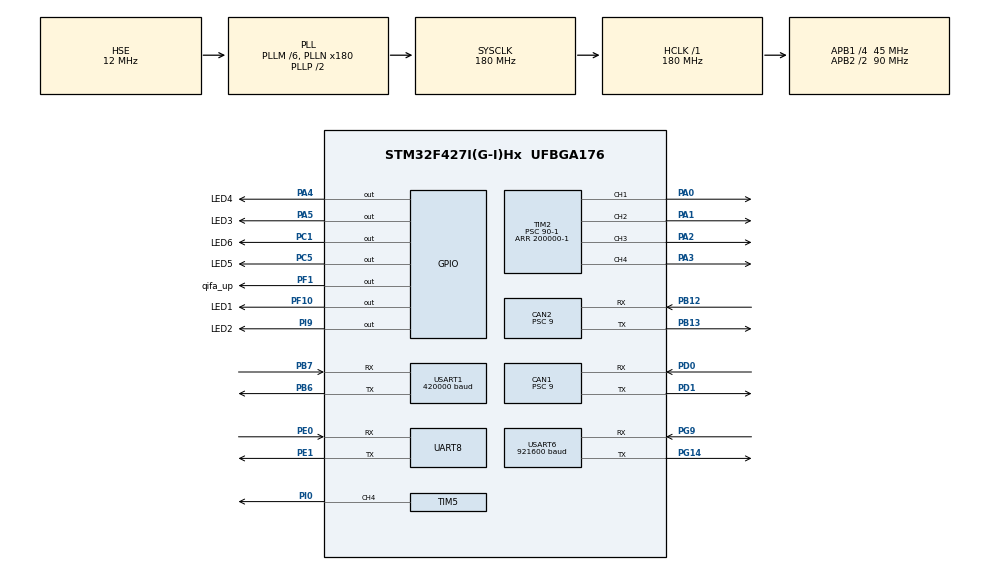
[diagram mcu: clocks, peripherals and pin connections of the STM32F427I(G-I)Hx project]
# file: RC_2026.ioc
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CAN1.ABOM=ENABLE
CAN1.BS1=CAN_BS1_2TQ
CAN1.BS2=CAN_BS2_2TQ
CAN1.CalculateBaudRate=1000000
CAN1.CalculateTimeBit=1000
CAN1.CalculateTimeQuantum=200.0
CAN1.NART=DISABLE
CAN1.Prescaler=9
CAN2.ABOM=ENABLE
CAN2.BS1=CAN_BS1_2TQ
CAN2.BS2=CAN_BS2_2TQ
CAN2.CalculateBaudRate=1000000
CAN2.CalculateTimeBit=1000
CAN2.CalculateTimeQuantum=200.0
CAN2.NART=DISABLE
CAN2.Prescaler=9
Dma.Request0=USART1_RX
Dma.Request1=USART6_RX
Dma.Request2=USART6_TX
Dma.USART1_RX.0.Direction=DMA_PERIPH_TO_MEMORY
Dma.USART1_RX.0.FIFOMode=DMA_FIFOMODE_DISABLE
Dma.USART1_RX.0.Instance=DMA2_Stream2
Dma.USART1_RX.0.MemDataAlignment=DMA_MDATAALIGN_BYTE
Dma.USART1_RX.0.MemInc=DMA_MINC_ENABLE
Dma.USART1_RX.0.Mode=DMA_NORMAL
Dma.USART1_RX.0.PeriphDataAlignment=DMA_PDATAALIGN_BYTE
Dma.USART1_RX.0.PeriphInc=DMA_PINC_DISABLE
Dma.USART1_RX.0.Priority=DMA_PRIORITY_LOW
Dma.USART6_RX.1.Direction=DMA_PERIPH_TO_MEMORY
Dma.USART6_RX.1.FIFOMode=DMA_FIFOMODE_DISABLE
Dma.USART6_RX.1.Instance=DMA2_Stream1
Dma.USART6_RX.1.MemDataAlignment=DMA_MDATAALIGN_BYTE
Dma.USART6_RX.1.MemInc=DMA_MINC_ENABLE
Dma.USART6_RX.1.Mode=DMA_NORMAL
Dma.USART6_RX.1.PeriphDataAlignment=DMA_PDATAALIGN_BYTE
Dma.USART6_RX.1.PeriphInc=DMA_PINC_DISABLE
Dma.USART6_RX.1.Priority=DMA_PRIORITY_LOW
Dma.USART6_TX.2.Direction=DMA_MEMORY_TO_PERIPH
Dma.USART6_TX.2.FIFOMode=DMA_FIFOMODE_DISABLE
Dma.USART6_TX.2.Instance=DMA2_Stream6
Dma.USART6_TX.2.MemDataAlignment=DMA_MDATAALIGN_BYTE
Dma.USART6_TX.2.MemInc=DMA_MINC_ENABLE
Dma.USART6_TX.2.Mode=DMA_NORMAL
Dma.USART6_TX.2.PeriphDataAlignment=DMA_PDATAALIGN_BYTE
Dma.USART6_TX.2.PeriphInc=DMA_PINC_DISABLE
Dma.USART6_TX.2.Priority=DMA_PRIORITY_LOW
FREERTOS.BinarySemaphores01=sem_command,Dynamic,NULL,Depleted
FREERTOS.Tasks01=StateFlag_Task,24,512,StateFlag_Function,As weak,NULL,Dynamic,NULL,NULL;MOVE_Task,32,512,MOVE_Function,As external,NULL,Dynamic,NULL,NULL;Action_Task,16,512,Action_Function,As external,NULL,Dynamic,NULL,NULL;CommandTask,8,256,StartCommandTask,As external,NULL,Dynamic,NULL,NULL
Mcu.Family=STM32F4
Mcu.Name=STM32F427I(G-I)Hx
Mcu.Package=UFBGA176
NVIC.CAN1_RX0_IRQn=true\:5\:0\:true\:false\:true\:true\:true\:true\:true
NVIC.CAN2_RX0_IRQn=true\:5\:0\:true\:false\:true\:true\:true\:true\:true
NVIC.CAN2_RX1_IRQn=true\:5\:0\:false\:false\:true\:true\:true\:true\:true
NVIC.DMA2_Stream1_IRQn=true\:5\:0\:false\:false\:true\:true\:false\:true\:true
NVIC.DMA2_Stream2_IRQn=true\:5\:0\:false\:false\:true\:true\:false\:true\:true
NVIC.DMA2_Stream6_IRQn=true\:6\:0\:true\:false\:true\:true\:false\:true\:true
NVIC.PriorityGroup=NVIC_PRIORITYGROUP_4
NVIC.TIM1_UP_TIM10_IRQn=true\:15\:0\:true\:false\:true\:false\:true\:true\:true
NVIC.TimeBase=TIM1_UP_TIM10_IRQn
NVIC.TimeBaseIP=TIM10
NVIC.USART1_IRQn=true\:5\:0\:true\:false\:true\:true\:true\:true\:true
NVIC.USART6_IRQn=true\:6\:0\:true\:false\:true\:true\:true\:true\:true
PA0/WKUP.Signal=S_TIM2_CH1_ETR
PA1.Signal=S_TIM2_CH2
PA13.Mode=Serial_Wire
PA13.Signal=SYS_JTMS-SWDIO
PA14.Mode=Serial_Wire
PA14.Signal=SYS_JTCK-SWCLK
PA2.Signal=S_TIM2_CH3
PA3.Signal=S_TIM2_CH4
PA4.GPIO_Label=LED4
PA4.GPIO_PuPd=GPIO_PULLDOWN
PA4.Signal=GPIO_Output
PA5.GPIO_Label=LED3
PA5.GPIO_PuPd=GPIO_PULLDOWN
PA5.Signal=GPIO_Output
PB12.Mode=CAN_Activate
PB12.Signal=CAN2_RX
PB13.Mode=CAN_Activate
PB13.Signal=CAN2_TX
PB6.Mode=Asynchronous
PB6.Signal=USART1_TX
PB7.Mode=Asynchronous
PB7.Signal=USART1_RX
PC1.GPIO_Label=LED6
PC1.GPIO_PuPd=GPIO_PULLDOWN
PC1.Signal=GPIO_Output
PC5.GPIO_Label=LED5
PC5.GPIO_PuPd=GPIO_PULLDOWN
PC5.Signal=GPIO_Output
PD0.Mode=CAN_Activate
PD0.Signal=CAN1_RX
PD1.Mode=CAN_Activate
PD1.Signal=CAN1_TX
PE0.Mode=Asynchronous
PE0.Signal=UART8_RX
PE1.Mode=Asynchronous
PE1.Signal=UART8_TX
PF1.GPIO_Label=qifa_up
PF1.GPIO_PuPd=GPIO_PULLDOWN
PF1.Signal=GPIO_Output
PF10.GPIO_Label=LED1
PF10.GPIO_PuPd=GPIO_PULLDOWN
PF10.Signal=GPIO_Output
PG14.Mode=Asynchronous
PG14.Signal=USART6_TX
PG9.Mode=Asynchronous
PG9.Signal=USART6_RX
PH0/OSC_IN.Mode=HSE-External-Oscillator
PH0/OSC_IN.Signal=RCC_OSC_IN
PH1/OSC_OUT.Mode=HSE-External-Oscillator
PH1/OSC_OUT.Signal=RCC_OSC_OUT
PI0.Signal=S_TIM5_CH4
PI9.GPIO_Label=LED2
PI9.GPIO_PuPd=GPIO_PULLDOWN
PI9.Signal=GPIO_Output
ProjectManager.HeapSize=0x200
ProjectManager.StackSize=0x400
ProjectManager.TargetToolchain=MDK-ARM V5.32
RCC.48MHZClocksFreq_Value=90000000
RCC.AHBFreq_Value=180000000
RCC.APB1CLKDivider=RCC_HCLK_DIV4
RCC.APB1Freq_Value=45000000
RCC.APB1TimFreq_Value=90000000
RCC.APB2CLKDivider=RCC_HCLK_DIV2
RCC.APB2Freq_Value=90000000
RCC.APB2TimFreq_Value=180000000
RCC.CortexFreq_Value=180000000
RCC.HCLKFreq_Value=180000000
RCC.HSE_VALUE=12000000
RCC.HSI_VALUE=16000000
RCC.LSE_VALUE=32768
RCC.PLLM=6
RCC.PLLN=180
RCC.PLLSourceVirtual=RCC_PLLSOURCE_HSE
RCC.SYSCLKFreq_VALUE=180000000
RCC.SYSCLKSource=RCC_SYSCLKSOURCE_PLLCLK
RCC.VCOOutputFreq_Value=360000000
SH.S_TIM2_CH1_ETR.0=TIM2_CH1,PWM Generation1 CH1
SH.S_TIM2_CH2.0=TIM2_CH2,PWM Generation2 CH2
SH.S_TIM2_CH3.0=TIM2_CH3,PWM Generation3 CH3
SH.S_TIM2_CH4.0=TIM2_CH4,PWM Generation4 CH4
SH.S_TIM5_CH4.0=TIM5_CH4,PWM Generation4 CH4
TIM1.Period=4999
TIM1.Prescaler=17999
TIM2.Channel-PWM\ Generation1\ CH1=TIM_CHANNEL_1
TIM2.Channel-PWM\ Generation2\ CH2=TIM_CHANNEL_2
TIM2.Channel-PWM\ Generation3\ CH3=TIM_CHANNEL_3
TIM2.Channel-PWM\ Generation4\ CH4=TIM_CHANNEL_4
TIM2.Period=200000-1
TIM2.Prescaler=90-1
TIM5.Channel-PWM\ Generation4\ CH4=TIM_CHANNEL_4
TIM5.Period=2000-1
TIM5.Prescaler=900-1
UART8.VirtualMode=Asynchronous
USART1.BaudRate=420000
USART1.VirtualMode=VM_ASYNC
USART6.BaudRate=921600
USART6.VirtualMode=VM_ASYNC
VP_FREERTOS_VS_CMSIS_V2.Mode=CMSIS_V2
VP_SYS_VS_tim10.Mode=TIM10
VP_TIM1_VS_ClockSourceINT.Mode=Internal
VP_TIM2_VS_ClockSourceINT.Mode=Internal
VP_TIM3_VS_ClockSourceINT.Mode=Internal
VP_TIM5_VS_ClockSourceINT.Mode=Internal
board=custom

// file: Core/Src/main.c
/* USER CODE BEGIN Header */
/**
  ******************************************************************************
  * @file           : main.c
  * @brief          : Main program body
  ******************************************************************************
  * @attention
  *
  * Copyright (c) 2025 STMicroelectronics.
  * All rights reserved.
  *
  * This software is licensed under terms that can be found in the LICENSE file
  * in the root directory of this software component.
  * If no LICENSE file comes with this software, it is provided AS-IS.
  *
  ******************************************************************************
  */
/* USER CODE END Header */
#include "main.h"
#include "cmsis_os.h"
#include "can.h"
#include "dma.h"
#include "tim.h"
#include "usart.h"
#include "gpio.h"

/* USER CODE BEGIN Includes */
#include "can_bsp.h"
#include "pid.h"
#include "usart_send.h"
#include "CommandTask.h"
#include "power_bsp.h"
#include "rob_core.h"
#include "CommandTask.h"
/* USER CODE END Includes */

void SystemClock_Config(void);
void MX_FREERTOS_Init(void);

int main(void)
{

  /* MCU Configuration--------------------------------------------------------*/

  /* Reset of all peripherals, Initializes the Flash interface and the Systick. */
  HAL_Init();

  NVIC_SetPriorityGrouping(0);

  /* USER CODE BEGIN Init */
  //__HAL_RCC_PWR_CLK_ENABLE();
  //HAL_PWR_EnableBkUpAccess();
  //__HAL_RCC_BKPSRAM_CLK_ENABLE();
  /* USER CODE END Init */

  /* Configure the system clock */
  SystemClock_Config();

  /* Initialize all configured peripherals */
  MX_GPIO_Init();
  MX_DMA_Init();
  MX_CAN1_Init();
  MX_TIM1_Init();
  MX_USART6_UART_Init();
  MX_USART1_UART_Init();
  MX_UART8_Init();
  MX_CAN2_Init();
  MX_TIM5_Init();
  MX_TIM2_Init();
  MX_TIM3_Init();
  /* USER CODE BEGIN 2 */
  HAL_Delay(1);

  HAL_TIM_Base_Start_IT(&htim1);
  HAL_TIM_PWM_Start(&htim5, TIM_CHANNEL_4);

  HAL_TIM_PWM_Start(&htim2, TIM_CHANNEL_1);
  HAL_TIM_PWM_Start(&htim2, TIM_CHANNEL_2);
  HAL_TIM_PWM_Start(&htim2, TIM_CHANNEL_3);
  HAL_TIM_PWM_Start(&htim2, TIM_CHANNEL_4);
  RC_R2_Init();
  Can_Filter_Init();

#if 1 // ==== 阶段2：CAN + hcan2 电机 (如果阶段1正常，改为 #if 1) ====
  Motor_3519_Init(&hcan2,CAN_3519_MODE_POSITION,CAN_3519_M1_ID);
  HAL_Delay(1);
  Motor_3519_Init(&hcan2,CAN_3519_MODE_POSITION,CAN_3519_M2_ID);
  HAL_Delay(1);
  Motor_3519_Init(&hcan2,CAN_3519_MODE_POSITION,CAN_3519_M3_ID);
  HAL_Delay(1);
  Motor_3519_Init(&hcan2,CAN_3519_MODE_POSITION,CAN_3519_M4_ID);
  HAL_Delay(1);
  Motor_3519_Init(&hcan2,CAN_3519_MODE_POSITION,CAN_3519_M5_ID);
  HAL_Delay(1);
  Motor_3519_Init(&hcan2,CAN_3519_MODE_POSITION,CAN_3519_M6_ID);
  HAL_Delay(1);
  Motor_3519_Init(&hcan2,CAN_3519_MODE_POSITION,CAN_3519_M7_ID);
  HAL_Delay(1);
  Motor_3519_Init(&hcan2,CAN_3519_MODE_POSITION,CAN_3519_M8_ID);
  HAL_Delay(1);
#endif

#if 1 // ==== 阶段3：再加 hcan1 电机 (阶段2正常后改为 #if 1) ====
  Motor_3519_Init(&hcan1,CAN_3519_MODE_SPEED,CAN_3519_M5_ID);
  HAL_Delay(1);
  Motor_3519_Init(&hcan1,CAN_3519_MODE_SPEED,CAN_3519_M6_ID);
  HAL_Delay(1);
  Motor_3519_Init(&hcan1,CAN_3519_MODE_SPEED,CAN_3519_M7_ID);
  HAL_Delay(1);
  Motor_3519_Init(&hcan1,CAN_3519_MODE_SPEED,CAN_3519_M8_ID);
  HAL_Delay(1);

	//夹爪小电机
	Motor_3519_Init(&hcan1,CAN_3519_MODE_POSITION,CAN_3519_M1_ID);
  HAL_Delay(1);
#endif

  int   KP_F=22;    int    KP_T=15;  int    KP_T_auto=5;
  float KI_F=0;     float  KI_T=0;   float  KI_T_auto=0;
  int   KD_F=19;    int    KD_T=5;   int    KD_T_auto=0;

  Pid_Init(&pid_Follow_1,KP_F,KI_F,KD_F,5000,40,0,0);
  Pid_Init(&pid_Follow_2,KP_F,KI_F,KD_F,5000,40,0,0);
  Pid_Init(&pid_Follow_3,KP_F,KI_F,KD_F,5000,40,0,0);
  Pid_Init(&pid_Follow_4,KP_F,KI_F,KD_F,5000,40,0,0);

  Pid_Init(&pid_Turn_1,KP_T,KI_T,KD_T,5000,30,0,0);
  Pid_Init(&pid_Turn_2,KP_T,KI_T,KD_T,5000,30,0,0);
  Pid_Init(&pid_Turn_3,KP_T,KI_T,KD_T,5000,30,0,0);
  Pid_Init(&pid_Turn_4,KP_T,KI_T,KD_T,5000,30,0,0);

  Pid_Init(&pid_Auto_1,KP_T_auto,KI_T_auto,KD_T_auto,5000,10,0,0);
  Pid_Init(&pid_Auto_2,KP_T_auto,KI_T_auto,KD_T_auto,5000,10,0,0);
  Pid_Init(&pid_Auto_3,KP_T_auto,KI_T_auto,KD_T_auto,5000,10,0,0);
  Pid_Init(&pid_Auto_4,KP_T_auto,KI_T_auto,KD_T_auto,5000,10,0,0);

  Pid_Init(&pid_DJI_v2,3.1,0,2.1,5000,16000,0,0);
  Pid_Init(&pid_DJI_v3,3.1,0,2.1,5000,16000,0,0);

  Can_Notify_Enable();

  /* USER CODE END 2 */

  /* Init scheduler */
  osKernelInitialize();  /* Call init function for freertos objects (in cmsis_os2.c) */
  MX_FREERTOS_Init();

  /* Start scheduler */
  osKernelStart();

  /* We should never get here as control is now taken by the scheduler */

  /* Infinite loop */
  while (1)
  {

  }
}

void SystemClock_Config(void)
{
  RCC_OscInitTypeDef RCC_OscInitStruct = {0};
  RCC_ClkInitTypeDef RCC_ClkInitStruct = {0};

  /** Configure the main internal regulator output voltage
  */
  __HAL_RCC_PWR_CLK_ENABLE();
  __HAL_PWR_VOLTAGESCALING_CONFIG(PWR_REGULATOR_VOLTAGE_SCALE1);

  /** Initializes the RCC Oscillators according to the specified parameters
  * in the RCC_OscInitTypeDef structure.
  */
  RCC_OscInitStruct.OscillatorType = RCC_OSCILLATORTYPE_HSE;
  RCC_OscInitStruct.HSEState = RCC_HSE_ON;
  RCC_OscInitStruct.PLL.PLLState = RCC_PLL_ON;
  RCC_OscInitStruct.PLL.PLLSource = RCC_PLLSOURCE_HSE;
  RCC_OscInitStruct.PLL.PLLM = 6;
  RCC_OscInitStruct.PLL.PLLN = 180;
  RCC_OscInitStruct.PLL.PLLP = RCC_PLLP_DIV2;
  RCC_OscInitStruct.PLL.PLLQ = 4;
  if (HAL_RCC_OscConfig(&RCC_OscInitStruct) != HAL_OK)
  {
    Error_Handler();
  }

  /** Activate the Over-Drive mode
  */
  if (HAL_PWREx_EnableOverDrive() != HAL_OK)
  {
    Error_Handler();
  }

  /** Initializes the CPU, AHB and APB buses clocks
  */
  RCC_ClkInitStruct.ClockType = RCC_CLOCKTYPE_HCLK|RCC_CLOCKTYPE_SYSCLK
                              |RCC_CLOCKTYPE_PCLK1|RCC_CLOCKTYPE_PCLK2;
  RCC_ClkInitStruct.SYSCLKSource = RCC_SYSCLKSOURCE_PLLCLK;
  RCC_ClkInitStruct.AHBCLKDivider = RCC_SYSCLK_DIV1;
  RCC_ClkInitStruct.APB1CLKDivider = RCC_HCLK_DIV4;
  RCC_ClkInitStruct.APB2CLKDivider = RCC_HCLK_DIV2;

  if (HAL_RCC_ClockConfig(&RCC_ClkInitStruct, FLASH_LATENCY_5) != HAL_OK)
  {
    Error_Handler();
  }
}

/* USER CODE BEGIN 4 */
uint8_t RobotProtect = 0;
/* USER CODE END 4 */

void HAL_TIM_PeriodElapsedCallback(TIM_HandleTypeDef *htim)
{
  if (htim->Instance == TIM10)
  {
    HAL_IncTick();
  }
  /* USER CODE BEGIN Callback 1 */
  if (htim->Instance == TIM1)
  {
		static int32_t WatchDog_sick=0;
		//WTCHDOG-1s串口不搬运数据，机器人停止运动
		WatchDog_sick=osKernelGetTickCount()-watch_dog_tick;

		if(WatchDog_sick>1000)
		{
			RobotProtect=1;
			UART6_DMA_Restart();   // DMA卡死 → 复位串口DMA
		}
  }
  /* USER CODE END Callback 1 */
}

void Error_Handler(void)
{
  __disable_irq();
  while (1)
  {
  }
}

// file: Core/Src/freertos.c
/* USER CODE BEGIN Header */
/**
  ******************************************************************************
  * File Name          : freertos.c
  * Description        : Code for freertos applications
  ******************************************************************************
  * @attention
  *
  * Copyright (c) 2025 STMicroelectronics.
  * All rights reserved.
  *
  * This software is licensed under terms that can be found in the LICENSE file
  * in the root directory of this software component.
  * If no LICENSE file comes with this software, it is provided AS-IS.
  *
  ******************************************************************************
  */
/* USER CODE END Header */

#include "FreeRTOS.h"
#include "task.h"
#include "main.h"
#include "cmsis_os.h"

/* USER CODE BEGIN Variables */
/* Definitions for mutex_Act */
osMutexId_t mutex_ActHandle;
const osMutexAttr_t mutex_Act_attributes = {
  .name = "mutex_Act"
};
osMutexId_t mutex_UpDownHandle;
const osMutexAttr_t mutex_UpDown_attributes = {
  .name = "mutex_UpDown"
};

/* USER CODE END Variables */
/* Definitions for StateFlag_Task */
osThreadId_t StateFlag_TaskHandle;
const osThreadAttr_t StateFlag_Task_attributes = {
  .name = "StateFlag_Task",
  .stack_size = 1024 * 4,
  .priority = (osPriority_t) osPriorityNormal,
};
/* Definitions for MOVE_Task */
osThreadId_t MOVE_TaskHandle;
const osThreadAttr_t MOVE_Task_attributes = {
  .name = "MOVE_Task",
  .stack_size = 1024 * 4,
  .priority = (osPriority_t) osPriorityAboveNormal,
};
/* Definitions for Action_Task */
osThreadId_t Action_TaskHandle;
const osThreadAttr_t Action_Task_attributes = {
  .name = "Action_Task",
  .stack_size = 1024 * 4,
  .priority = (osPriority_t) osPriorityBelowNormal,
};
/* Definitions for CommandTask */
osThreadId_t CommandTaskHandle;
const osThreadAttr_t CommandTask_attributes = {
  .name = "CommandTask",
  .stack_size = 512 * 4,
  .priority = (osPriority_t) osPriorityLow,
};
/* Definitions for sem_command */
osSemaphoreId_t sem_commandHandle;
const osSemaphoreAttr_t sem_command_attributes = {
  .name = "sem_command"
};

void StateFlag_Function(void *argument);
extern void MOVE_Function(void *argument);
extern void Action_Function(void *argument);
extern void StartCommandTask(void *argument);

void MX_FREERTOS_Init(void); /* (MISRA C 2004 rule 8.1) */

void MX_FREERTOS_Init(void) {

  /* USER CODE BEGIN RTOS_MUTEX */
  /* add mutexes, ... */
  mutex_ActHandle = osMutexNew(&mutex_Act_attributes);
  mutex_UpDownHandle = osMutexNew(&mutex_UpDown_attributes);
  /* USER CODE END RTOS_MUTEX */

  /* Create the semaphores(s) */
  /* creation of sem_command */
  sem_commandHandle = osSemaphoreNew(1, 0, &sem_command_attributes);

  /* Create the thread(s) */
  /* creation of StateFlag_Task */
   StateFlag_TaskHandle = osThreadNew(StateFlag_Function, NULL, &StateFlag_Task_attributes);

  /* creation of MOVE_Task */
  MOVE_TaskHandle = osThreadNew(MOVE_Function, NULL, &MOVE_Task_attributes);

  /* creation of Action_Task */
  Action_TaskHandle = osThreadNew(Action_Function, NULL, &Action_Task_attributes);

  /* creation of CommandTask */
  CommandTaskHandle = osThreadNew(StartCommandTask, NULL, &CommandTask_attributes);

}

__weak void StateFlag_Function(void *argument)
{
  for(;;)
  {
    osDelay(1);
  }
}
